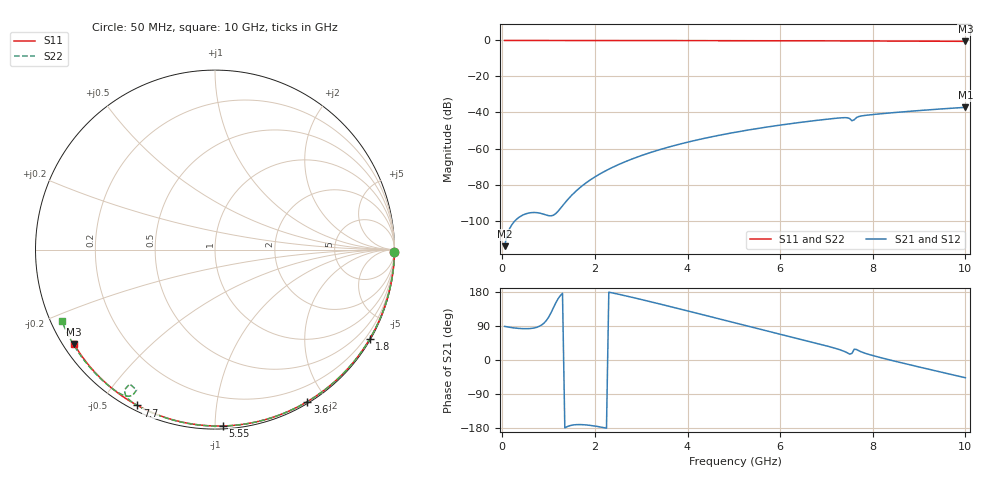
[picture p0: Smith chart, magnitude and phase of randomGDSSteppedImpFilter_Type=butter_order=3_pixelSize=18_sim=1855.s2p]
! freq	dB(S11)	phase(S11)	dB(S12)	phase(S12)
!  dB(S21)	phase(S21)	dB(S22)	phase(S22)
!S-par simulation data
#  GHz  S  DB  R 50
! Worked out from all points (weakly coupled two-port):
!   200 points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, 50 MHz to 10 GHz, reference 50 ohm
!   highest |S21| = -37.13 dB at 10 GHz (marker M1); lowest = -114.2 dB at 50 MHz (marker M2)
!   lowest |S11| = -0.5 dB at 10 GHz (marker M3), VSWR 35.57, Z = 1.53 - j15.2 ohm
!   |S11| at or under -10 dB: nowhere
!   |S22| runs from -1.0 to 0.0 dB; largest |S21 - S12| = 0
!   S11 on the Smith chart (normalised r, x): 50 MHz: open; 1.8 GHz: 0.03, -3.72; 3.6 GHz: 0.02, -1.78; 5.55 GHz: 0.02, -1.05; 7.7 GHz: 0.02, -0.62; 10 GHz: 0.03, -0.30
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0.05  -0.00 -0.9  -114.23 88.7  -114.23 88.7  -0.00 -0.9
0.9  -0.02 -15.2  -96.54 97.4  -96.54 97.4  -0.02 -16.0
1.75  -0.04 -29.3  -80.22 -170.8  -80.22 -170.8  -0.04 -30.9
1.8  -0.04 -30.1  -79.25 -171.2  -79.25 -171.2  -0.04 -31.7
2.1  -0.04 -35.0  -74.24 -176.3  -74.24 -176.3  -0.05 -36.9
2.5  -0.05 -41.4  -69.04 173.8  -69.04 173.8  -0.06 -43.7
2.9  -0.06 -47.8  -64.87 162.6  -64.87 162.6  -0.07 -50.4
3.4  -0.07 -55.6  -60.63 147.8  -60.63 147.8  -0.08 -58.6
3.6  -0.08 -58.7  -59.15 141.8  -59.15 141.8  -0.08 -61.8
4.3  -0.10 -69.3  -54.71 120.4  -54.71 120.4  -0.10 -73.0
5.05  -0.12 -80.3  -50.89 97.3  -50.89 97.3  -0.13 -84.5
5.55  -0.14 -87.4  -48.73 82.0  -48.73 82.0  -0.15 -92.1
6.7  -0.20 -103.2  -44.65 46.7  -44.65 46.7  -0.21 -109.0
7.4  -0.24 -112.6  -42.86 22.0  -42.86 22.0  -0.35 -120.4
7.5  -0.25 -113.9  -43.35 15.6  -43.35 15.6  -0.63 -122.9
7.55  -0.25 -114.5  -44.57 17.3  -44.57 17.3  -1.05 -122.4
7.6  -0.26 -115.2  -44.04 28.6  -44.04 28.6  -0.95 -119.2
7.65  -0.26 -115.8  -42.78 27.6  -42.78 27.6  -0.59 -119.5
7.7  -0.27 -116.5  -42.23 24.3  -42.23 24.3  -0.44 -120.7
8.35  -0.32 -125.0  -40.30 0.7  -40.30 0.7  -0.35 -131.4
9.2  -0.40 -135.9  -38.54 -24.2  -38.54 -24.2  -0.43 -143.6
10  -0.49 -146.2  -37.13 -46.8  -37.13 -46.8  -0.53 -155.0
